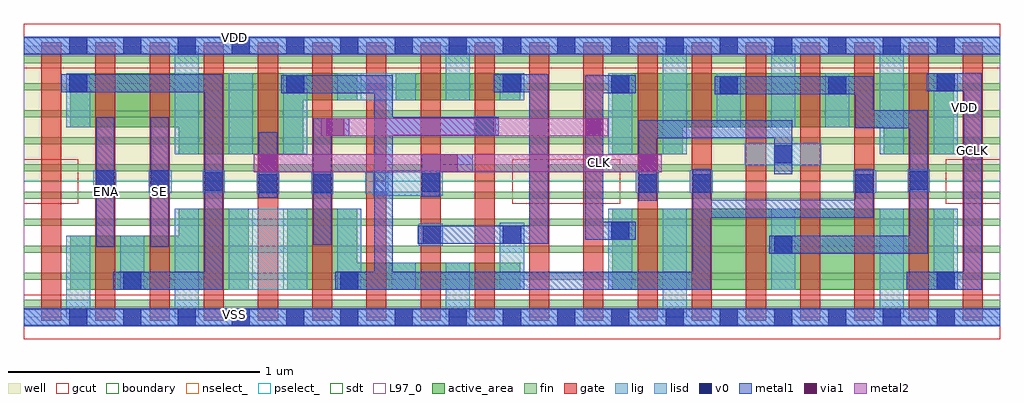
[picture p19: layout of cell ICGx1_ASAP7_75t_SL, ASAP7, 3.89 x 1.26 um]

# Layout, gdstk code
import gdstk
lib = gdstk.Library(unit=1e-6, precision=2.5e-10)
def R(c, l, rs):  # rectangles x0, y0, x1, y1
    for r in rs: c.add(gdstk.rectangle(r[:2], r[2:], *l))
def A(c, l, x, y, w, h, nx, ny, dx, dy):  # array of equal rectangles
    R(c, l, [(x+i*dx, y+j*dy, x+i*dx+w, y+j*dy+h) for i in range(nx) for j in range(ny)])
def P(c, l, *ps):  # polygons
    for p in ps: c.add(gdstk.Polygon(p, *l))
well = (1, 0)
fin = (2, 0)
gate = (7, 0)
gcut = (10, 0)
active_area = (11, 0)
nselect_ = (12, 0)
pselect_ = (13, 0)
lig = (16, 0)
lisd = (17, 0)
v0 = (18, 0)
metal1 = (19, 0)
metal2 = (20, 0)
via1 = (21, 0)
sdt = (88, 0)
L97_0 = (97, 0)
boundary = (100, 0)

icgx1_asap7_75t_sl = lib.new_cell('ICGx1_ASAP7_75t_SL')
R(icgx1_asap7_75t_sl, well, [(0,0.54,3.888,1.08)])
A(icgx1_asap7_75t_sl, fin, 0, 0.04, 3.888, 0.028, 1, 10, 0, 0.108)
A(icgx1_asap7_75t_sl, gate, 0.068, -0.014, 0.08, 1.108, 18, 1, 0.216, 0)
R(icgx1_asap7_75t_sl, gcut, [(0,-0.088,3.888,0.088), (0,0.452,0.216,0.628), (1.944,0.452,2.376,0.628), (3.672,0.452,3.888,0.628), (0,0.992,3.888,1.168)])
R(icgx1_asap7_75t_sl, active_area, [(2.344,0.108,3.704,0.432), (1.48,0.864,1.976,0.972)])
P(icgx1_asap7_75t_sl, active_area, [(3.704,0.972),(2.344,0.972),(2.344,0.648),(2.624,0.648),(2.624,0.756),(3.424,0.756),(3.424,0.648),(3.704,0.648)],
  [(1.976,0.216),(1.328,0.216),(1.328,0.432),(1.048,0.432),(1.048,0.108),(1.976,0.108)],
  [(1.328,0.972),(0.184,0.972),(0.184,0.756),(0.616,0.756),(0.616,0.648),(1.112,0.648),(1.112,0.864),(1.328,0.864)],
  [(0.896,0.432),(0.616,0.432),(0.616,0.324),(0.184,0.324),(0.184,0.108),(0.896,0.108)])
R(icgx1_asap7_75t_sl, nselect_, [(0,0,3.888,0.54)])
R(icgx1_asap7_75t_sl, pselect_, [(0,0.54,3.888,1.08)])
R(icgx1_asap7_75t_sl, lig, [(0,-0.032,3.888,0.032), (1.572,0.284,1.668,0.372), (0.928,0.492,1.016,0.576), (1.144,0.492,1.232,0.576), (1.36,0.492,1.452,0.576), (0.276,0.496,0.368,0.584), (0.496,0.496,0.588,0.584), (0.712,0.496,0.8,0.584), (2.436,0.496,2.528,0.584), (2.652,0.496,2.744,0.584), (3.304,0.496,3.396,0.584), (3.52,0.5,3.608,0.588), (2.872,0.604,3.176,0.692), (1.792,0.72,1.88,0.8), (0,1.048,3.888,1.112)])
A(icgx1_asap7_75t_sl, lisd, 2.328, 0.108, 0.096, 0.324, 3, 1, 0.648, 0)
A(icgx1_asap7_75t_sl, lisd, 1.032, 0.648, 0.096, 0.324, 3, 1, 1.296, 0)
R(icgx1_asap7_75t_sl, lisd, [(0.168,0,0.264,0.324), (0.6,0,0.696,0.432), (1.68,0,1.776,0.216), (2.544,0,2.64,0.432), (3.408,0,3.504,0.432), (0.384,0.108,0.48,0.324), (0.816,0.108,1.128,0.432), (1.248,0.108,1.344,0.432), (1.464,0.108,1.56,0.216), (1.896,0.108,1.992,0.376), (1.392,0.484,1.668,0.584), (0.6,0.648,0.696,1.08), (0.816,0.648,0.912,0.972), (2.544,0.648,2.64,1.08), (3.408,0.648,3.504,1.08), (0.168,0.756,0.264,0.972), (2.76,0.756,2.856,0.972), (2.976,0.756,3.072,1.08), (3.192,0.756,3.288,0.972), (1.248,0.864,1.56,0.972), (1.68,0.864,1.776,1.08), (1.896,0.864,1.992,0.972)])
A(icgx1_asap7_75t_sl, v0, 0.18, -0.036, 0.072, 0.072, 17, 2, 0.216, 1.08)
R(icgx1_asap7_75t_sl, v0, [(0.396,0.108,0.468,0.18), (1.26,0.108,1.332,0.18), (3.636,0.108,3.708,0.18), (2.988,0.252,3.06,0.324), (1.588,0.292,1.66,0.364), (1.908,0.292,1.98,0.364), (2.34,0.308,2.412,0.38), (0.936,0.496,1.008,0.568), (1.152,0.496,1.224,0.568), (2.448,0.496,2.52,0.568), (2.664,0.496,2.736,0.568), (3.312,0.496,3.384,0.568), (1.584,0.5,1.656,0.572), (0.72,0.504,0.792,0.576), (3.528,0.508,3.6,0.58), (0.288,0.512,0.36,0.584), (0.504,0.512,0.576,0.584), (2.988,0.612,3.06,0.684), (1.8,0.724,1.872,0.796), (2.772,0.888,2.844,0.96), (3.204,0.888,3.276,0.96), (1.044,0.892,1.116,0.964), (2.34,0.892,2.412,0.964), (0.18,0.896,0.252,0.968), (1.908,0.896,1.98,0.968), (3.636,0.9,3.708,0.972)])
R(icgx1_asap7_75t_sl, metal1, [(0,-0.036,3.888,0.036), (0.288,0.28,0.36,0.796), (0.504,0.28,0.576,0.796), (0.936,0.476,1.008,0.736), (0,1.044,3.888,1.116)])
P(icgx1_asap7_75t_sl, metal1, [(3.816,0.972),(3.596,0.972),(3.596,0.9),(3.744,0.9),(3.744,0.18),(3.516,0.18),(3.516,0.108),(3.816,0.108)],
  [(3.6,0.824),(3.384,0.824),(3.384,0.96),(2.752,0.96),(2.752,0.888),(3.312,0.888),(3.312,0.752),(3.528,0.752),(3.528,0.324),(2.968,0.324),(2.968,0.252),(3.6,0.252)],
  [(3.384,0.588),(3.312,0.588),(3.312,0.468),(2.736,0.468),(2.736,0.588),(2.664,0.588),(2.664,0.18),(1.468,0.18),(1.468,0.724),(1.892,0.724),(1.892,0.796),(1.468,0.796),(1.468,0.964),(1.024,0.964),(1.024,0.892),(1.396,0.892),(1.396,0.18),(1.24,0.18),(1.24,0.108),(2.736,0.108),(2.736,0.396),(3.384,0.396)],
  [(3.06,0.784),(2.448,0.784),(2.448,0.464),(2.52,0.464),(2.52,0.712),(2.988,0.712),(2.988,0.568),(3.06,0.568)],
  [(2.436,0.38),(2.308,0.38),(2.308,0.892),(2.436,0.892),(2.436,0.964),(2.236,0.964),(2.236,0.308),(2.436,0.308)],
  [(2.088,0.968),(1.872,0.968),(1.872,0.896),(2.012,0.896),(2.012,0.364),(1.568,0.364),(1.568,0.292),(2.088,0.292)],
  [(1.788,0.648),(1.584,0.648),(1.584,0.48),(1.656,0.48),(1.656,0.576),(1.788,0.576)],
  [(1.296,0.792),(1.152,0.792),(1.152,0.288),(1.224,0.288),(1.224,0.72),(1.296,0.72)],
  [(0.792,0.968),(0.148,0.968),(0.148,0.896),(0.72,0.896),(0.72,0.18),(0.356,0.18),(0.356,0.108),(0.792,0.108)])
R(icgx1_asap7_75t_sl, metal2, [(0.916,0.576,2.54,0.648), (1.184,0.72,2.328,0.792)])
R(icgx1_asap7_75t_sl, via1, [(0.936,0.576,1.008,0.648), (1.656,0.576,1.728,0.648), (2.448,0.576,2.52,0.648), (1.204,0.72,1.276,0.792), (2.236,0.72,2.308,0.792)])
A(icgx1_asap7_75t_sl, sdt, 0.6, 0.108, 0.096, 0.324, 4, 1, 0.216, 0)
A(icgx1_asap7_75t_sl, sdt, 1.464, 0.108, 0.096, 0.108, 3, 1, 0.216, 0)
A(icgx1_asap7_75t_sl, sdt, 2.544, 0.108, 0.096, 0.324, 3, 1, 0.432, 0)
A(icgx1_asap7_75t_sl, sdt, 0.6, 0.648, 0.096, 0.324, 3, 1, 0.216, 0)
A(icgx1_asap7_75t_sl, sdt, 2.76, 0.756, 0.096, 0.216, 3, 1, 0.216, 0)
A(icgx1_asap7_75t_sl, sdt, 1.248, 0.864, 0.096, 0.108, 4, 1, 0.216, 0)
R(icgx1_asap7_75t_sl, sdt, [(0.168,0.108,0.264,0.324), (0.384,0.108,0.48,0.324), (2.328,0.108,2.424,0.432), (3.624,0.108,3.72,0.432), (2.328,0.648,2.424,0.972), (2.544,0.648,2.64,0.972), (3.408,0.648,3.504,0.972), (3.624,0.648,3.72,0.972), (0.168,0.756,0.264,0.972)])
R(icgx1_asap7_75t_sl, L97_0, [(0,0,3.888,1.08)])
R(icgx1_asap7_75t_sl, boundary, [(0,0,3.888,1.08)])
icgx1_asap7_75t_sl.add(gdstk.Label('VDD', (0.84,1.112), layer=19, texttype=251))
icgx1_asap7_75t_sl.add(gdstk.Label('VSS', (0.84,0.012), layer=19, texttype=251))
icgx1_asap7_75t_sl.add(gdstk.Label('GCLK', (3.78,0.664), layer=19, texttype=251))
icgx1_asap7_75t_sl.add(gdstk.Label('ENA', (0.328,0.5), layer=19, texttype=251))
icgx1_asap7_75t_sl.add(gdstk.Label('SE', (0.54,0.5), layer=19, texttype=251))
icgx1_asap7_75t_sl.add(gdstk.Label('VDD', (3.748,0.836), layer=1, texttype=251))
icgx1_asap7_75t_sl.add(gdstk.Label('VSS', (4.024,0.832), layer=3, texttype=251))
icgx1_asap7_75t_sl.add(gdstk.Label('CLK', (2.292,0.616), layer=20, texttype=251))

lib.write_gds('ICGx1_ASAP7_75t_SL.gds')
